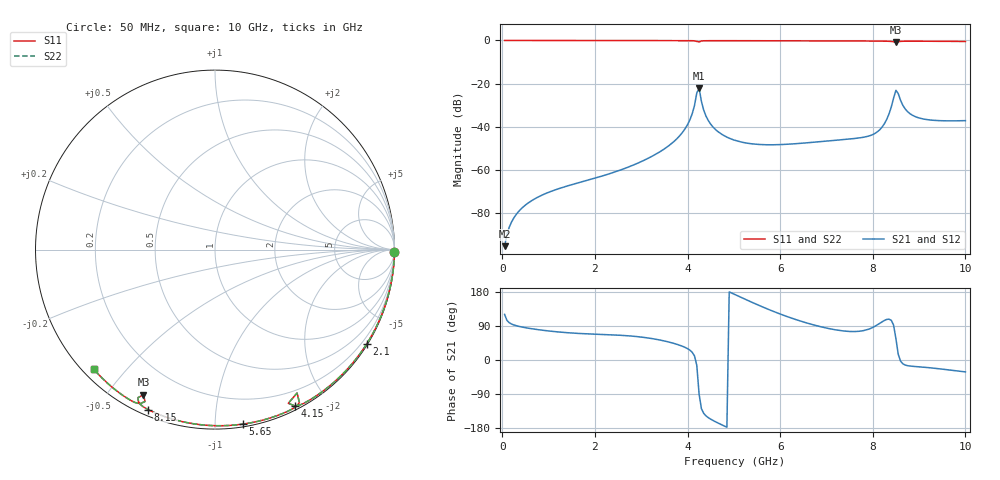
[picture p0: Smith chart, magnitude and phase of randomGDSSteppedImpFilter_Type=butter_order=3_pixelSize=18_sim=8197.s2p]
! freq	dB(S11)	phase(S11)	dB(S12)	phase(S12)
!  dB(S21)	phase(S21)	dB(S22)	phase(S22)
!S-par simulation data
#  GHz  S  DB  R 50
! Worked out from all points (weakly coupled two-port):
!   200 points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, 50 MHz to 10 GHz, reference 50 ohm
!   highest |S21| = -22.20 dB at 4.25 GHz (marker M1); lowest = -95.5 dB at 50 MHz (marker M2)
!   lowest |S11| = -0.9 dB at 8.5 GHz (marker M3), VSWR 19.31, Z = 3.59 - j31 ohm
!   |S11| at or under -10 dB: nowhere
!   |S22| runs from -0.9 to 0.0 dB; largest |S21 - S12| = 0
!   S11 on the Smith chart (normalised r, x): 50 MHz: open; 2.1 GHz: 0.03, -3.51; 4.15 GHz: 0.04, -1.64; 5.65 GHz: 0.02, -1.17; 8.15 GHz: 0.02, -0.67; 10 GHz: 0.03, -0.41
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0.05  -0.00 -0.8  -95.47 120.3  -95.47 120.3  -0.00 -0.8
0.3  -0.00 -4.6  -80.76 90.6  -80.76 90.6  -0.00 -4.6
0.85  -0.01 -13.0  -71.85 78.8  -71.85 78.8  -0.01 -13.0
1.75  -0.03 -26.6  -65.41 69.5  -65.41 69.5  -0.03 -26.6
2.1  -0.04 -31.8  -63.27 67.7  -63.27 67.7  -0.04 -31.8
3.4  -0.07 -50.8  -51.71 52.8  -51.71 52.8  -0.07 -50.8
3.9  -0.08 -58.1  -42.41 35.7  -42.41 35.7  -0.08 -58.1
4.15  -0.18 -62.8  -30.22 10.9  -30.22 10.9  -0.18 -62.8
4.2  -0.46 -64.5  -24.34 -14.3  -24.34 -14.3  -0.46 -64.5
4.25  -0.72 -60.2  -22.20 -90.2  -22.20 -90.2  -0.72 -60.2
4.35  -0.15 -62.5  -32.39 -140.9  -32.39 -140.9  -0.15 -62.5
4.5  -0.11 -65.2  -38.85 -156.2  -38.85 -156.2  -0.11 -65.2
5.05  -0.11 -73.0  -46.50 171.2  -46.50 171.2  -0.11 -73.0
5.65  -0.14 -81.0  -48.37 138.5  -48.37 138.5  -0.14 -81.0
6.7  -0.18 -94.4  -47.28 93.4  -47.28 93.4  -0.18 -94.5
7.8  -0.26 -108.2  -44.92 77.6  -44.92 77.6  -0.26 -108.2
8.15  -0.30 -112.7  -41.46 96.7  -41.46 96.7  -0.30 -112.7
8.35  -0.38 -115.7  -34.14 107.9  -34.14 107.9  -0.38 -115.7
8.5  -0.90 -116.2  -23.15 56.1  -23.15 56.1  -0.90 -116.2
8.7  -0.34 -117.8  -31.78 -13.3  -31.78 -13.3  -0.34 -117.8
8.9  -0.34 -120.7  -35.18 -17.1  -35.18 -17.1  -0.34 -120.7
10  -0.46 -135.3  -37.21 -31.4  -37.21 -31.4  -0.46 -135.3
